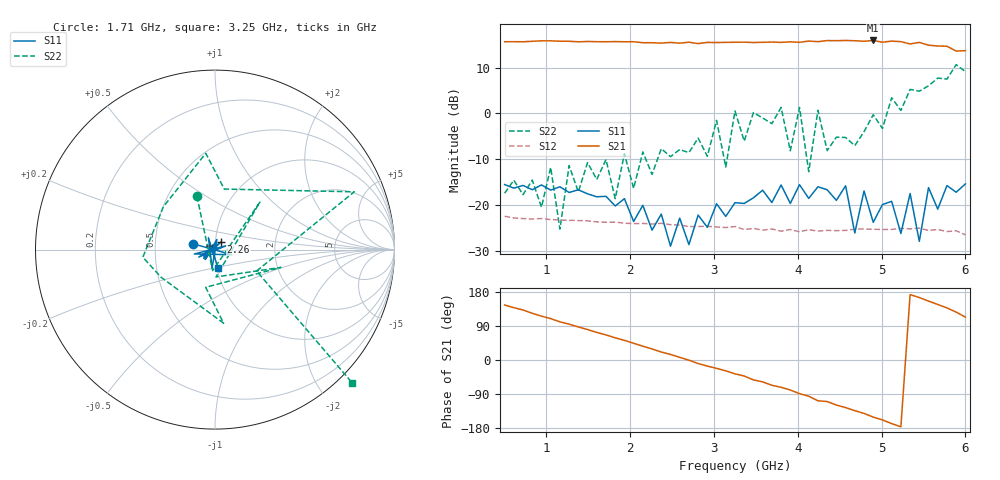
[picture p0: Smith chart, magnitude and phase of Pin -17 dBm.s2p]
! RsaToolbox (C) 2015 Rohde & Schwarz America
! Number of points: 51
! Number of ports: 2
! Balanced ports?: No
# Hz S RI R 50
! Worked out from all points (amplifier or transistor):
!   51 points, 500 MHz to 6 GHz, reference 50 ohm
!   highest |S21| = 15.9 dB at 4.9 GHz (marker M1)
!   |S21| within 3 dB of that: start of sweep to end of sweep
!   unconditionally stable (mu >= 1): start of sweep to 3.002 GHz; 3.05 GHz to 3.215 GHz; 4.293 GHz to 4.788 GHz (the widest 3 of 6)
!   at 1.38 GHz: K = 1.36, MAG = 15.9 dB, |S12| = -23.4 dB
!   at 3.25 GHz: K = 0.05, MSG = 20.1 dB, |S12| = -24.7 dB
!   at 6 GHz: K = -14.79, MSG = 20.1 dB, |S12| = -26.5 dB
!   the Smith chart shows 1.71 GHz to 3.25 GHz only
!   S11 on the Smith chart (normalised r, x): 1.71 GHz: 0.78, +0.05; 2.26 GHz: 1.07, +0.09; 3.25 GHz: 1.01, -0.22
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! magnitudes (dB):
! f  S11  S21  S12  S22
! 500 MHz  -15.5  15.6  -22.4  -17.4
! 1.05 GHz  -16.7  15.8  -23.1  -11.8
! 1.16 GHz  -16.0  15.7  -23.2  -25.2
! 1.27 GHz  -17.2  15.7  -23.3  -11.4
! 1.49 GHz  -17.5  15.7  -23.4  -10.7
! 1.71 GHz  -18.1  15.6  -23.7  -10.1
! 2.26 GHz  -25.4  15.4  -24.1  -13.3
! 2.37 GHz  -21.9  15.3  -23.9  -7.7
! 3.03 GHz  -19.7  15.5  -24.7  -1.5
! 3.14 GHz  -22.4  15.5  -24.9  -11.7
! 3.25 GHz  -19.5  15.5  -24.7  0.5
! 3.8 GHz  -15.6  15.5  -25.7  1.3
! 3.91 GHz  -19.6  15.6  -25.3  -8.1
! 4.02 GHz  -15.5  15.5  -25.8  1.3
! 4.13 GHz  -18.5  15.8  -25.3  -12.7
! 4.24 GHz  -16.0  15.7  -25.7  0.7
! 4.35 GHz  -16.6  15.9  -25.5  -8.1
! 4.9 GHz  -23.7  15.9  -25.2  -0.3
! 5.12 GHz  -19.2  15.8  -25.3  3.4
! 5.45 GHz  -27.9  15.5  -25.0  4.9
! 5.56 GHz  -16.2  14.9  -25.5  6.0
! 6 GHz  -15.4  13.7  -26.5  9.1
